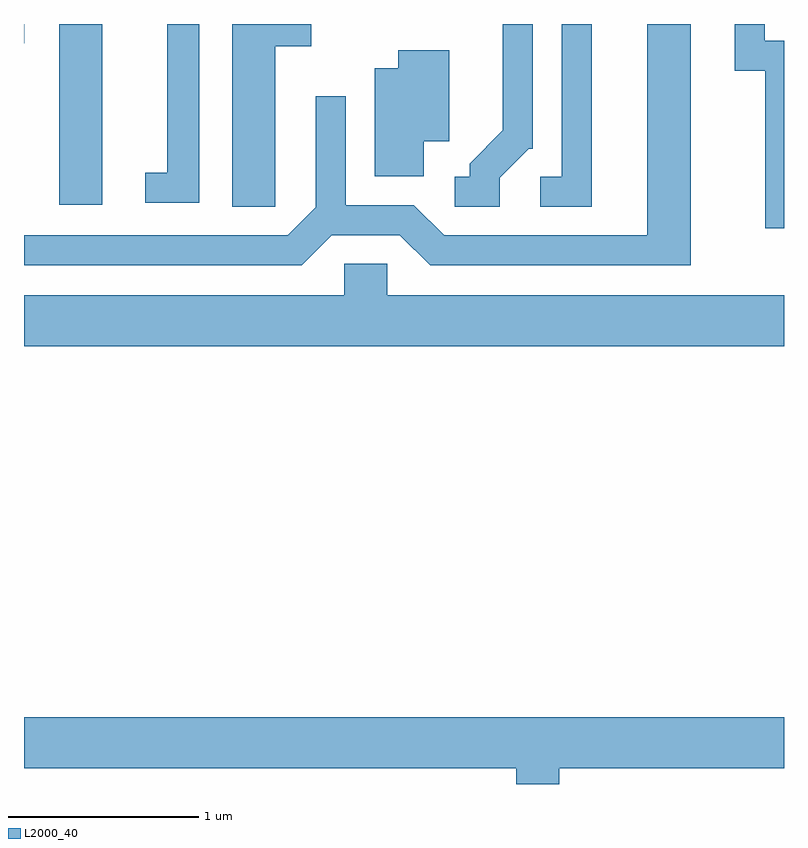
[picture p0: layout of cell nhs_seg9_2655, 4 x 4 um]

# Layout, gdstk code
import gdstk
lib = gdstk.Library(unit=1e-6, precision=1e-09)
def R(c, l, rs):  # rectangles x0, y0, x1, y1
    for r in rs: c.add(gdstk.rectangle(r[:2], r[2:], *l))
def P(c, l, *ps):  # polygons
    for p in ps: c.add(gdstk.Polygon(p, *l))
L2000_40 = (2000, 40)

nhs_seg9_2655 = lib.new_cell('nhs_seg9_2655')
R(nhs_seg9_2655, L2000_40, [(263.796,1961.481,264.024,1962.432), (263.611,1962.331,263.613,1962.432)])
P(nhs_seg9_2655, L2000_40, [(265.232,1961.321),(265.589,1961.321),(265.749,1961.161),(267.119,1961.161),(267.119,1962.432),(266.891,1962.432),(266.891,1961.319),(265.822,1961.319),(265.662,1961.479),(265.304,1961.479),(265.304,1962.053),(265.146,1962.053),(265.146,1961.467),(264.999,1961.319),(263.611,1961.319),(263.611,1961.161),(265.072,1961.161)],
  [(264.934,1962.316),(265.123,1962.316),(265.123,1962.432),(264.706,1962.432),(264.706,1961.471),(264.934,1961.471)],
  [(264.534,1962.432),(264.366,1962.432),(264.366,1961.649),(264.248,1961.649),(264.248,1961.491),(264.534,1961.491)],
  [(266.114,1961.624),(266.267,1961.776),(266.289,1961.776),(266.289,1962.432),(266.131,1962.432),(266.131,1961.872),(265.956,1961.697),(265.956,1961.629),(265.878,1961.629),(265.878,1961.471),(266.114,1961.471)],
  [(266.599,1962.432),(266.441,1962.432),(266.441,1961.629),(266.328,1961.629),(266.328,1961.471),(266.599,1961.471)],
  [(267.611,1962.344),(267.509,1962.344),(267.509,1962.432),(267.351,1962.432),(267.351,1962.186),(267.511,1962.186),(267.511,1961.356),(267.611,1961.356)],
  [(265.714,1961.816),(265.849,1961.816),(265.849,1962.294),(265.581,1962.294),(265.581,1962.199),(265.456,1962.199),(265.456,1961.631),(265.714,1961.631)],
  [(267.611,1961.004),(265.524,1961.004),(265.524,1961.169),(265.296,1961.169),(265.296,1961.004),(263.611,1961.004),(263.611,1960.736),(267.611,1960.736)],
  [(266.429,1958.516),(267.611,1958.516),(267.611,1958.784),(263.611,1958.784),(263.611,1958.516),(266.201,1958.516),(266.201,1958.432),(266.429,1958.432)])

lib.write_gds('nhs_seg9_2655.gds')
